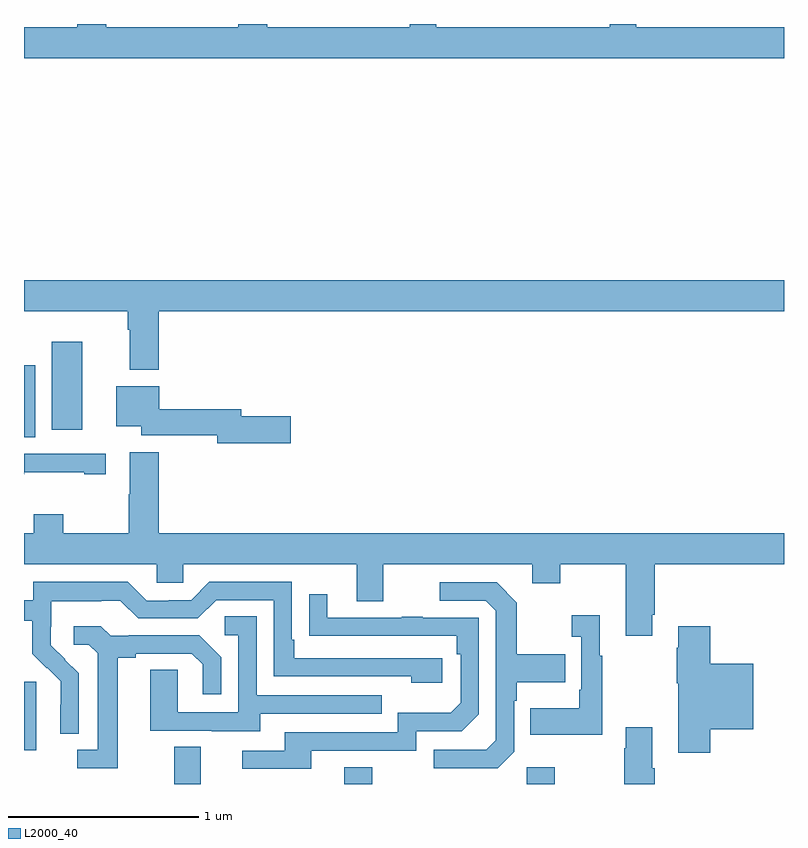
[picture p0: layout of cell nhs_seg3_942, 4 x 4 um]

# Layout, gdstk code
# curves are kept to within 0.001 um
import gdstk
lib = gdstk.Library(unit=1e-6, precision=1e-09)
def R(c, l, rs):  # rectangles x0, y0, x1, y1
    for r in rs: c.add(gdstk.rectangle(r[:2], r[2:], *l))
def P(c, l, *ps):  # polygons
    for p in ps: c.add(gdstk.Polygon(p, *l))
L2000_40 = (2000, 40)

nhs_seg3_942 = lib.new_cell('nhs_seg3_942')
R(nhs_seg3_942, L2000_40, [(159.791,726.4,159.931,726.596), (160.685,726.4,160.833,726.487), (161.646,726.4,161.793,726.487), (159,726.578,159.064,726.939), (159,728.224,159.058,728.605), (159.146,728.265,159.307,728.728)])
P(nhs_seg3_942, L2000_40, [(163,730.384),(162.223,730.384),(162.223,730.4),(162.083,730.4),(162.083,730.384),(161.169,730.384),(161.169,730.4),(161.031,730.4),(161.031,730.384),(160.279,730.384),(160.279,730.4),(160.127,730.4),(160.127,730.384),(159.434,730.384),(159.434,730.4),(159.281,730.4),(159.281,730.384),(159,730.384),(159,730.22),(163,730.22)],
  [(159.71,728.888),(163,728.888),(163,729.052),(159,729.052),(159,728.888),(159.545,728.888),(159.545,728.792),(159.557,728.792),(159.557,728.579),(159.71,728.579)],
  [(160.405,728.336),(160.144,728.336),(160.144,728.372),(159.712,728.372),(159.712,728.494),(159.485,728.494),(159.485,728.282),(159.618,728.282),(159.618,728.236),(160.016,728.236),(160.016,728.194),(160.405,728.194)],
  [(162.307,727.291),(162.32,727.291),(162.32,727.556),(163,727.556),(163,727.72),(159.71,727.72),(159.71,728.146),(159.557,728.146),(159.557,727.925),(159.55,727.925),(159.55,727.72),(159.207,727.72),(159.207,727.819),(159.052,727.819),(159.052,727.72),(159,727.72),(159,727.556),(159.699,727.556),(159.699,727.458),(159.837,727.458),(159.837,727.556),(160.751,727.556),(160.751,727.362),(160.891,727.362),(160.891,727.556),(161.675,727.556),(161.675,727.457),(161.823,727.457),(161.823,727.556),(162.167,727.556),(162.167,727.179),(162.307,727.179)],
  [(159.002,728.041),(159.317,728.041),(159.317,728.031),(159.43,728.031),(159.43,728.139),(159,728.139),(159,728.031),(159.002,728.031)],
  [(159.288,726.982),(159.142,727.13),(159.142,727.227),(159.144,727.227),(159.144,727.361),(159.407,727.361),(159.407,727.365),(159.507,727.365),(159.6,727.272),(159.915,727.272),(160.011,727.368),(160.314,727.368),(160.314,726.966),(161.039,726.966),(161.039,726.932),(161.2,726.932),(161.2,727.062),(160.423,727.062),(160.423,727.159),(160.41,727.159),(160.41,727.464),(159.975,727.464),(159.879,727.368),(159.761,727.368),(159.761,727.365),(159.645,727.365),(159.545,727.465),(159.048,727.465),(159.048,727.368),(159,727.368),(159,727.26),(159.043,727.26),(159.043,727.085),(159.12,727.008),(159.123,727.011),(159.194,726.941),(159.194,726.818),(159.192,726.818),(159.192,726.664),(159.288,726.664)],
  [(161.58,726.57),(161.58,726.839),(161.593,726.839),(161.593,726.935),(161.849,726.935),(161.849,727.083),(161.593,727.083),(161.593,727.355),(161.487,727.461),(161.187,727.461),(161.187,727.365),(161.43,727.365),(161.484,727.311),(161.484,726.63),(161.433,726.579),(161.157,726.579),(161.157,726.483),(161.493,726.483)],
  [(160.513,726.576),(161.064,726.576),(161.064,726.678),(161.304,726.678),(161.394,726.768),(161.394,727.275),(161.099,727.275),(161.099,727.28),(160.987,727.28),(160.987,727.275),(160.597,727.275),(160.597,727.399),(160.501,727.399),(160.501,727.18),(161.278,727.179),(161.278,727.082),(161.298,727.082),(161.298,726.828),(161.245,726.775),(160.968,726.775),(160.968,726.672),(160.373,726.672),(160.373,726.576),(160.149,726.576),(160.149,726.48),(160.513,726.48)],
  [(162.043,727.075),(162.031,727.075),(162.031,727.288),(161.883,727.288),(161.883,727.175),(161.934,727.175),(161.934,726.895),(161.922,726.895),(161.922,726.799),(161.665,726.799),(161.665,726.659),(162.043,726.659)],
  [(160.243,726.771),(160.883,726.771),(160.883,726.867),(160.224,726.867),(160.224,727.283),(160.056,727.283),(160.056,727.182),(160.128,727.182),(160.128,726.777),(159.81,726.777),(159.81,727.001),(159.665,727.001),(159.665,726.681),(159.989,726.681),(159.989,726.677),(160.243,726.677)],
  [(159.493,727.064),(159.589,727.064),(159.589,727.086),(159.884,727.086),(159.941,727.029),(159.941,726.873),(160.038,726.873),(160.038,727.066),(159.922,727.182),(159.55,727.182),(159.55,727.179),(159.456,727.179),(159.404,727.231),(159.261,727.231),(159.261,727.134),(159.342,727.134),(159.389,727.087),(159.389,726.579),(159.279,726.579),(159.279,726.483),(159.493,726.483)],
  [(162.611,726.689),(162.838,726.689),(162.838,727.033),(162.611,727.033),(162.611,727.231),(162.443,727.231),(162.443,727.118),(162.436,727.118),(162.436,726.929),(162.443,726.929),(162.443,726.564),(162.611,726.564)],
  [(162.32,726.484),(162.307,726.484),(162.307,726.7),(162.167,726.7),(162.167,726.587),(162.16,726.587),(162.16,726.4),(162.32,726.4)])

lib.write_gds('nhs_seg3_942.gds')
